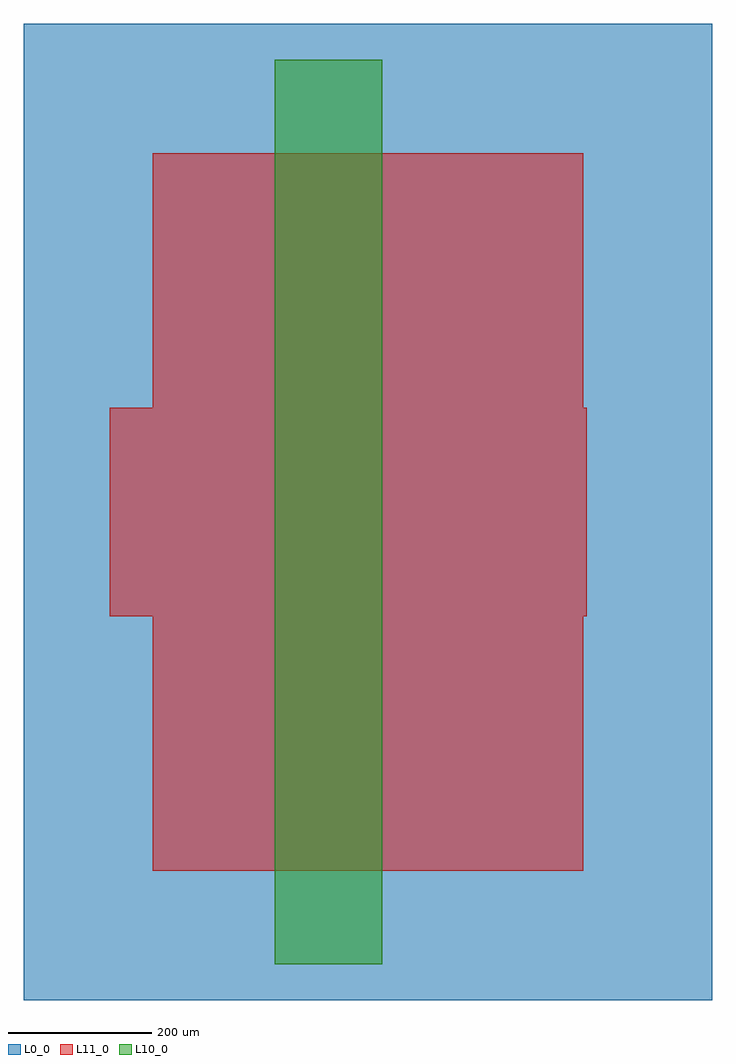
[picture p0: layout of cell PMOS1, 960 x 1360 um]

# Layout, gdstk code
import gdstk
lib = gdstk.Library(unit=1e-6, precision=1e-09)
def R(c, l, rs):  # rectangles x0, y0, x1, y1
    for r in rs: c.add(gdstk.rectangle(r[:2], r[2:], *l))
L0_0 = (0, 0)
L10_0 = (10, 0)
L11_0 = (11, 0)

pmos1 = lib.new_cell('PMOS1')
R(pmos1, L0_0, [(-180,-50,780,1310), (-125,5,725,1255), (-80,465,250,795), (295,465,625,795), (0,545,170,715), (375,545,545,715)])
R(pmos1, L10_0, [(170,0,320,1260)])
R(pmos1, L11_0, [(0,130,600,1130), (-60,485,230,775), (315,485,605,775)])

lib.write_gds('PMOS1.gds')
